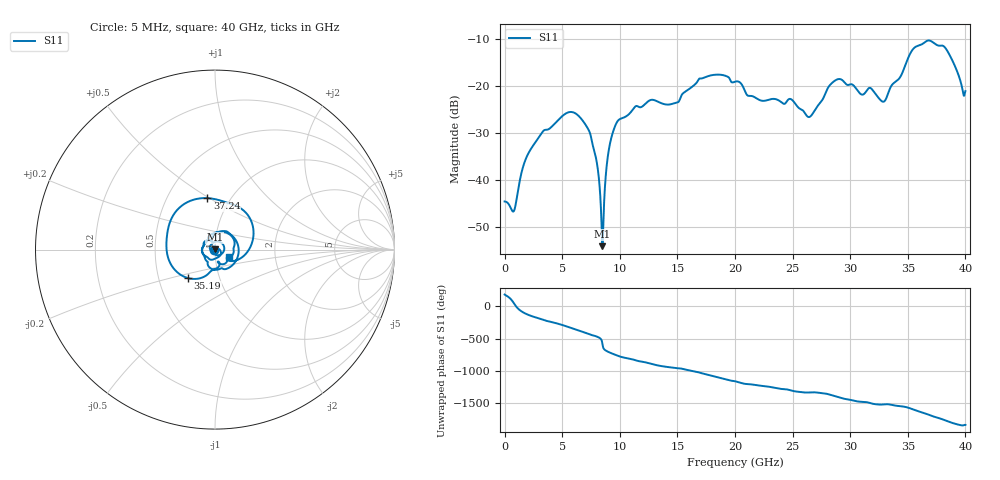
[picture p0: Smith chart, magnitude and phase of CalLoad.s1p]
! File created by SignalIntegrity v1.1.1: Signal and Power Integrity Tools
! https://github.com/TeledyneLeCroy/SignalIntegrity
# MHz MA S R 50.0
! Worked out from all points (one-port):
!   8000 points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, 5 MHz to 40 GHz, reference 50 ohm
!   lowest |S11| = -54.0 dB at 8.495 GHz (marker M1), VSWR 1.00, Z = 49.9 + j0.132 ohm
!   |S11| at or under -10 dB: start of sweep to end of sweep
!   S11 on the Smith chart (normalised r, x): 5 MHz: 0.99, +0.00; 35.19 GHz: 0.70, -0.23; 37.24 GHz: 0.78, +0.49; 40 GHz: 1.16, -0.10
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5  0.005941 179.5
795  0.004672 49.8
2080  0.01943 -135.0
5005  0.04804 70.4
6115  0.05173 3.1
7320  0.03385 -68.7
8010  0.01538 -108.9
8375  0.004704 -149.4
8495  0.001987 138.2
9095  0.02261 7.8
10005  0.04468 -55.5
12680  0.07135 -166.2
15005  0.06718 123.4
17035  0.1207 49.8
20005  0.1117 -77.9
22220  0.07063 -146.1
25005  0.07061 134.3
26465  0.04708 111.0
28560  0.112 59.7
30005  0.1046 -3.9
32910  0.06846 -75.0
35005  0.1962 -123.6
35185  0.2194 -133.9
36290  0.2827 159.3
37240  0.2899 98.5
38390  0.2421 28.1
39175  0.1551 -16.7
40000  0.08862 -30.0
